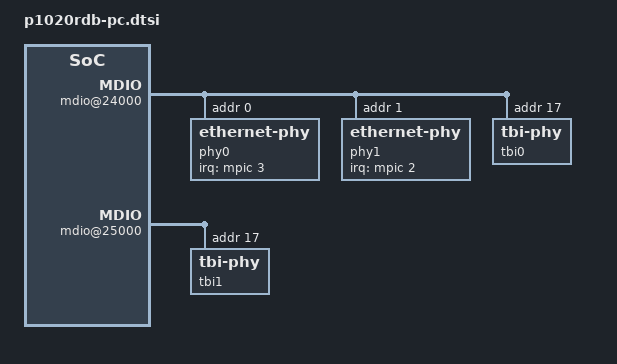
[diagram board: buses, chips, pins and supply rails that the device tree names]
// SPDX-License-Identifier: GPL-2.0+ OR X11
/*
 * P1020 RDB-PC Device Tree Source stub (no addresses or top-level ranges)
 *
 * Copyright 2012 Freescale Semiconductor Inc.
 * Copyright 2020 NXP
 */

&soc {
	mdio@24000 {
		phy0: ethernet-phy@0 {
			interrupt-parent = <&mpic>;
			interrupts = <3 1 0 0>;
			reg = <0x0>;
		};

		phy1: ethernet-phy@1 {
			interrupt-parent = <&mpic>;
			interrupts = <2 1 0 0>;
			reg = <0x1>;
		};

		tbi0: tbi-phy@11 {
			device_type = "tbi-phy";
			reg = <0x11>;
		};
	};

	mdio@25000 {
		tbi1: tbi-phy@11 {
			reg = <0x11>;
			device_type = "tbi-phy";
		};
	};

	enet0: ethernet@b0000 {
		phy-connection-type = "rgmii-id";
		fixed-link {
			speed = <1000>;
			full-duplex;
		};

	};

	enet1: ethernet@b1000 {
		phy-handle = <&phy0>;
		tbi-handle = <&tbi1>;
		phy-connection-type = "sgmii";
	};

	enet2: ethernet@b2000 {
		phy-handle = <&phy1>;
		phy-connection-type = "rgmii-id";
	};
};
